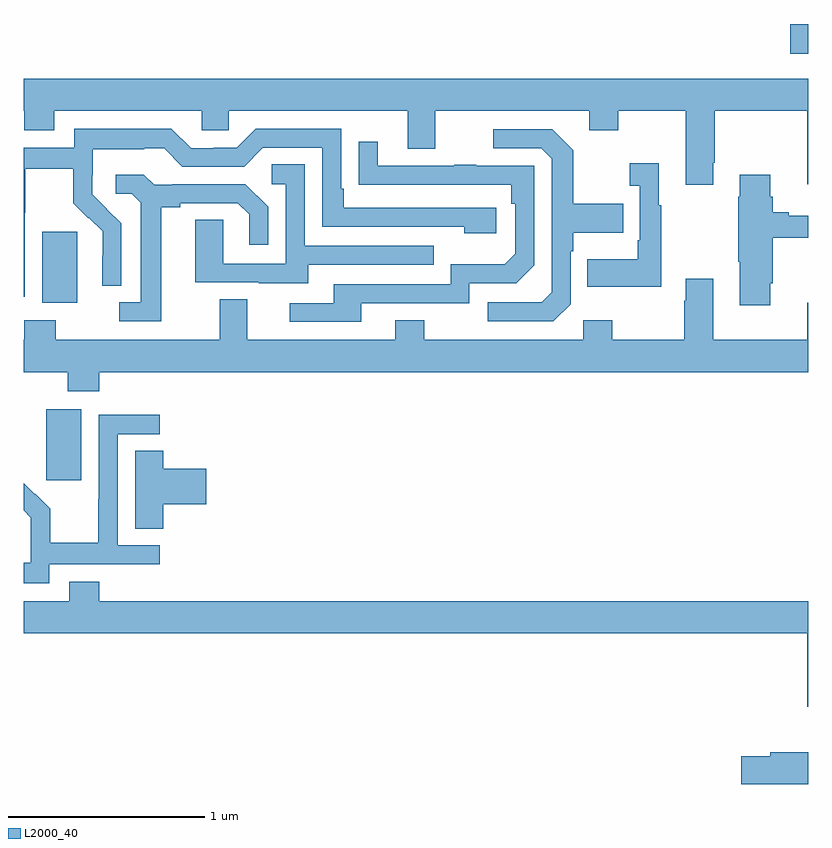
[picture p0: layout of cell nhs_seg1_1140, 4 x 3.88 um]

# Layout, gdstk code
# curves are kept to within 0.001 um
import gdstk
lib = gdstk.Library(unit=1e-6, precision=1e-09)
def R(c, l, rs):  # rectangles x0, y0, x1, y1
    for r in rs: c.add(gdstk.rectangle(r[:2], r[2:], *l))
def P(c, l, *ps):  # polygons
    for p in ps: c.add(gdstk.Polygon(p, *l))
L2000_40 = (2000, 40)

nhs_seg1_1140 = lib.new_cell('nhs_seg1_1140')
R(nhs_seg1_1140, L2000_40, [(173.114,525.873,173.293,526.234), (173.093,526.778,173.272,527.139), (176.909,528.048,177,528.199)])
P(nhs_seg1_1140, L2000_40, [(176.515,527.491),(176.523,527.491),(176.523,527.756),(176.996,527.756),(176.996,527.382),(177,527.382),(177,527.92),(173,527.92),(173,527.756),(173.003,527.756),(173.003,527.657),(173.155,527.657),(173.155,527.756),(173.907,527.756),(173.907,527.658),(174.045,527.658),(174.045,527.756),(174.959,527.756),(174.959,527.562),(175.099,527.562),(175.099,527.756),(175.883,527.756),(175.883,527.657),(176.031,527.657),(176.031,527.756),(176.375,527.756),(176.375,527.379),(176.515,527.379)],
  [(173.004,527.236),(173.007,527.236),(173.007,527.46),(173.251,527.46),(173.251,527.285),(173.328,527.208),(173.331,527.211),(173.402,527.141),(173.402,527.018),(173.4,527.018),(173.4,526.864),(173.496,526.864),(173.496,527.182),(173.35,527.33),(173.35,527.427),(173.352,527.427),(173.352,527.561),(173.615,527.561),(173.615,527.565),(173.715,527.565),(173.808,527.472),(174.123,527.472),(174.219,527.568),(174.522,527.568),(174.522,527.166),(175.247,527.166),(175.247,527.132),(175.408,527.132),(175.408,527.262),(174.631,527.262),(174.631,527.359),(174.618,527.359),(174.618,527.664),(174.183,527.664),(174.087,527.568),(173.969,527.568),(173.969,527.565),(173.853,527.565),(173.753,527.665),(173.256,527.665),(173.256,527.568),(173,527.568),(173,526.807),(173.004,526.807)],
  [(175.788,526.77),(175.788,527.039),(175.801,527.039),(175.801,527.135),(176.057,527.135),(176.057,527.283),(175.801,527.283),(175.801,527.555),(175.695,527.661),(175.395,527.661),(175.395,527.565),(175.638,527.565),(175.692,527.511),(175.692,526.83),(175.641,526.779),(175.365,526.779),(175.365,526.683),(175.701,526.683)],
  [(174.721,526.776),(175.272,526.776),(175.272,526.878),(175.512,526.878),(175.602,526.968),(175.602,527.475),(175.307,527.475),(175.307,527.48),(175.195,527.48),(175.195,527.475),(174.805,527.475),(174.805,527.599),(174.709,527.599),(174.709,527.38),(175.486,527.379),(175.486,527.282),(175.506,527.282),(175.506,527.028),(175.453,526.975),(175.176,526.975),(175.176,526.872),(174.581,526.872),(174.581,526.776),(174.357,526.776),(174.357,526.68),(174.721,526.68)],
  [(176.251,527.275),(176.239,527.275),(176.239,527.488),(176.091,527.488),(176.091,527.375),(176.142,527.375),(176.142,527.095),(176.13,527.095),(176.13,526.999),(175.873,526.999),(175.873,526.859),(176.251,526.859)],
  [(174.451,526.971),(175.091,526.971),(175.091,527.067),(174.432,527.067),(174.432,527.483),(174.264,527.483),(174.264,527.382),(174.336,527.382),(174.336,526.977),(174.018,526.977),(174.018,527.201),(173.873,527.201),(173.873,526.881),(174.197,526.881),(174.197,526.877),(174.451,526.877)],
  [(176.806,526.876),(176.819,526.876),(176.819,527.108),(177,527.108),(177,527.221),(176.902,527.221),(176.902,527.24),(176.819,527.24),(176.819,527.318),(176.806,527.318),(176.806,527.431),(176.651,527.431),(176.651,527.318),(176.644,527.318),(176.644,526.987),(176.651,526.987),(176.651,526.764),(176.806,526.764)],
  [(173.701,527.264),(173.797,527.264),(173.797,527.286),(174.092,527.286),(174.149,527.229),(174.149,527.073),(174.246,527.073),(174.246,527.266),(174.13,527.382),(173.758,527.382),(173.758,527.379),(173.664,527.379),(173.612,527.431),(173.469,527.431),(173.469,527.334),(173.55,527.334),(173.597,527.287),(173.597,526.779),(173.487,526.779),(173.487,526.683),(173.701,526.683)],
  [(173.384,526.424),(177,526.424),(177,526.777),(176.996,526.777),(176.996,526.588),(176.515,526.588),(176.515,526.9),(176.375,526.9),(176.375,526.787),(176.368,526.787),(176.368,526.588),(176.001,526.588),(176.001,526.687),(175.854,526.687),(175.854,526.588),(175.041,526.588),(175.041,526.687),(174.893,526.687),(174.893,526.588),(174.139,526.588),(174.139,526.796),(173.999,526.796),(173.999,526.588),(173.163,526.588),(173.163,526.687),(173.003,526.687),(173.003,526.588),(173,526.588),(173,526.424),(173.224,526.424),(173.224,526.325),(173.384,526.325)],
  [(173.13,525.444),(173.692,525.444),(173.692,525.54),(173.478,525.54),(173.478,526.107),(173.692,526.107),(173.692,526.206),(173.382,526.206),(173.382,525.776),(173.38,525.776),(173.38,525.553),(173.135,525.553),(173.135,525.727),(173.058,525.804),(173.055,525.801),(173,525.857),(173,525.718),(173.036,525.682),(173.036,525.585),(173.034,525.585),(173.034,525.451),(173,525.451),(173,525.347),(173.13,525.347)],
  [(173.711,525.749),(173.929,525.749),(173.929,525.932),(173.711,525.932),(173.711,526.022),(173.567,526.022),(173.567,525.625),(173.711,525.625)],
  [(177,525.256),(173.384,525.256),(173.384,525.355),(173.231,525.355),(173.231,525.256),(173,525.256),(173,525.092),(176.996,525.092),(176.996,524.718),(177,524.718)],
  [(177,524.484),(176.807,524.484),(176.807,524.465),(176.658,524.465),(176.658,524.323),(177,524.323)])

lib.write_gds('nhs_seg1_1140.gds')
